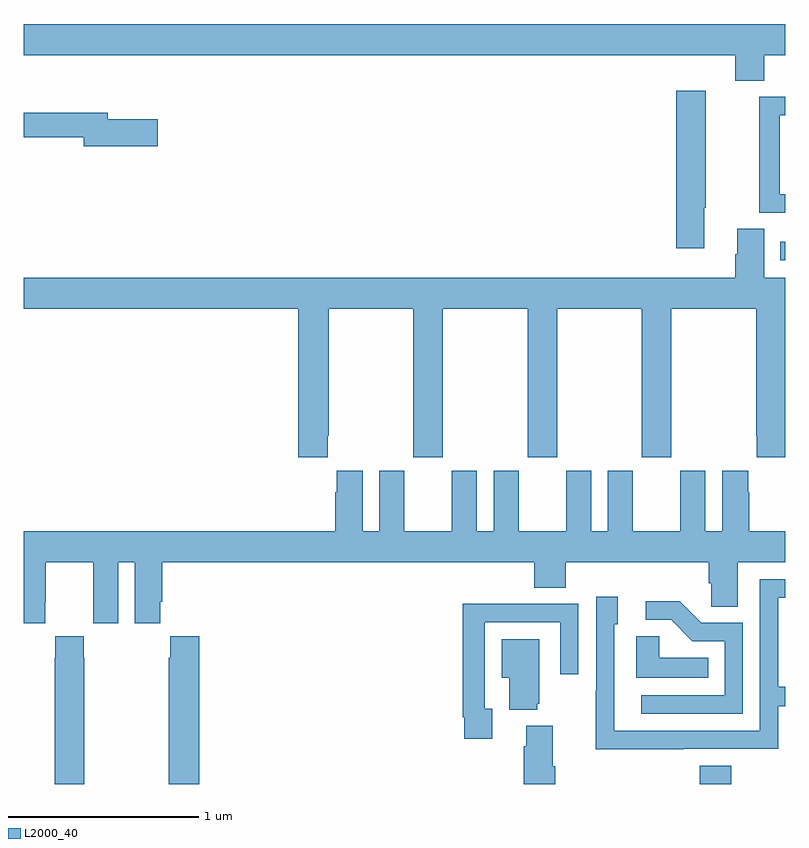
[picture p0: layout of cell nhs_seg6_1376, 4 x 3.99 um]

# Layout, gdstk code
import gdstk
lib = gdstk.Library(unit=1e-6, precision=1e-09)
def R(c, l, rs):  # rectangles x0, y0, x1, y1
    for r in rs: c.add(gdstk.rectangle(r[:2], r[2:], *l))
def P(c, l, *ps):  # polygons
    for p in ps: c.add(gdstk.Polygon(p, *l))
L2000_40 = (2000, 40)

nhs_seg6_1376 = lib.new_cell('nhs_seg6_1376')
R(nhs_seg6_1376, L2000_40, [(198.551,951.5,198.716,951.595), (198.974,954.252,199,954.348)])
P(nhs_seg6_1376, L2000_40, [(198.889,955.328),(199,955.328),(199,955.492),(195,955.492),(195,955.328),(198.737,955.328),(198.737,955.195),(198.889,955.195)],
  [(198.574,954.527),(198.582,954.527),(198.582,955.141),(198.428,955.141),(198.428,954.315),(198.574,954.315)],
  [(199,954.597),(198.972,954.597),(198.972,955.014),(199,955.014),(199,955.11),(198.864,955.11),(198.864,954.501),(199,954.501)],
  [(195.703,954.993),(195.442,954.993),(195.442,955.027),(195,955.027),(195,954.898),(195.314,954.898),(195.314,954.851),(195.703,954.851)],
  [(196.597,953.329),(196.602,953.329),(196.602,953.996),(197.047,953.996),(197.047,953.217),(197.202,953.217),(197.202,953.996),(197.647,953.996),(197.647,953.217),(197.802,953.217),(197.802,953.996),(198.247,953.996),(198.247,953.217),(198.402,953.217),(198.402,953.996),(198.847,953.996),(198.847,953.329),(198.851,953.329),(198.851,953.217),(199,953.217),(199,954.16),(198.889,954.16),(198.889,954.416),(198.749,954.416),(198.749,954.282),(198.737,954.282),(198.737,954.16),(195,954.16),(195,953.996),(196.442,953.996),(196.442,953.217),(196.597,953.217)],
  [(195.114,952.456),(195.115,952.456),(195.115,952.664),(195.365,952.664),(195.365,952.456),(195.366,952.456),(195.366,952.344),(195.496,952.344),(195.496,952.664),(195.584,952.664),(195.584,952.344),(195.718,952.344),(195.718,952.456),(195.728,952.456),(195.728,952.664),(197.681,952.664),(197.681,952.531),(197.846,952.531),(197.846,952.664),(198.599,952.664),(198.599,952.555),(198.612,952.555),(198.612,952.432),(198.751,952.432),(198.751,952.664),(199,952.664),(199,952.828),(198.812,952.828),(198.812,953.033),(198.805,953.033),(198.805,953.146),(198.668,953.146),(198.668,952.828),(198.58,952.828),(198.58,953.146),(198.449,953.146),(198.449,952.828),(198.199,952.828),(198.199,953.146),(198.068,953.146),(198.068,952.828),(197.98,952.828),(197.98,953.146),(197.849,953.146),(197.849,952.828),(197.599,952.828),(197.599,953.146),(197.468,953.146),(197.468,952.828),(197.38,952.828),(197.38,953.146),(197.249,953.146),(197.249,952.828),(196.999,952.828),(196.999,953.146),(196.868,953.146),(196.868,952.828),(196.78,952.828),(196.78,953.146),(196.643,953.146),(196.643,953.033),(196.637,953.033),(196.637,952.828),(195,952.828),(195,952.344),(195.114,952.344)],
  [(198.467,951.684),(198.963,951.684),(198.963,951.909),(199,951.909),(199,952.01),(198.963,952.01),(198.963,952.479),(199,952.479),(199,952.575),(198.867,952.575),(198.867,951.78),(198.102,951.78),(198.102,952.338),(198.121,952.338),(198.121,952.483),(198.006,952.483),(198.006,951.989),(198.004,951.989),(198.004,951.683),(198.467,951.683)],
  [(198.777,952.347),(198.558,952.347),(198.445,952.46),(198.267,952.46),(198.267,952.362),(198.401,952.362),(198.512,952.251),(198.681,952.251),(198.681,951.966),(198.243,951.966),(198.243,951.87),(198.777,951.87)],
  [(197.461,951.894),(197.421,951.894),(197.421,952.35),(197.817,952.35),(197.817,952.077),(197.913,952.077),(197.913,952.446),(197.597,952.446),(197.597,952.448),(197.305,952.448),(197.305,951.85),(197.313,951.85),(197.313,951.738),(197.461,951.738)],
  [(198.596,952.162),(198.339,952.162),(198.339,952.277),(198.218,952.277),(198.218,952.058),(198.596,952.058)],
  [(195.923,952.276),(195.769,952.276),(195.769,952.163),(195.763,952.163),(195.763,951.5),(195.923,951.5)],
  [(195.318,952.163),(195.315,952.163),(195.315,952.276),(195.165,952.276),(195.165,952.163),(195.163,952.163),(195.163,951.5),(195.318,951.5)],
  [(197.696,951.921),(197.707,951.921),(197.707,952.261),(197.51,952.261),(197.51,952.058),(197.549,952.058),(197.549,951.89),(197.696,951.89)],
  [(197.792,951.592),(197.779,951.592),(197.779,951.805),(197.639,951.805),(197.639,951.698),(197.627,951.698),(197.627,951.5),(197.792,951.5)])

lib.write_gds('nhs_seg6_1376.gds')
